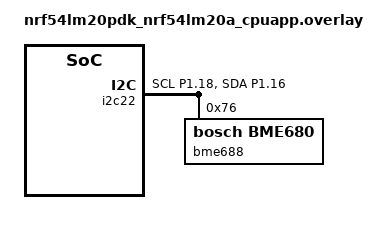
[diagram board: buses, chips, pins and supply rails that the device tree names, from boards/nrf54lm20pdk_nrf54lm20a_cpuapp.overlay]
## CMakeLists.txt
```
#
# Copyright (c) 2018 Bosch Sensortec GmbH
#
# SPDX-License-Identifier: LicenseRef-Nordic-5-Clause
#

cmake_minimum_required(VERSION 3.20.0)
find_package(Zephyr REQUIRED HINTS $ENV{ZEPHYR_BASE})
project(bme680)

FILE(GLOB app_sources src/*.c)
target_sources(app PRIVATE ${app_sources})
```

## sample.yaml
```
sample:
  name: BME680 Sensor sample
common:
  depends_on: i2c
  tags:
    - drivers
    - i2c
    - sensors
    - ci_samples_zephyr_sensor_bme680
  harness: console

tests:
  nrf.extended.sample.sensor.bme680.nrf54h:
    filter: not CONFIG_COVERAGE
    harness_config:
      fixture: pca63566
      type: one_line
      regex:
        - "^\\s*T:\\s*-?[0-9\\.]*; P:\\s*-?[0-9\\.]*; H: \\s*-?[0-9\\.]*; G:\\s*-?[0-9\\\
        .]*$"
    extra_args:
      - SHIELD=pca63566
    platform_allow: nrf54h20dk/nrf54h20/cpuapp

  nrf.extended.sample.sensor.bme680.nrf54h_cpuppr:
    filter: not CONFIG_COVERAGE
    sysbuild: true
    harness_config:
      fixture: pca63566
      type: one_line
      regex:
        - "^\\s*T:\\s*-?[0-9\\.]*; P:\\s*-?[0-9\\.]*; H: \\s*-?[0-9\\.]*; G:\\s*-?[0-9\\\
        .]*$"
    extra_args:
      - bme680_SHIELD=pca63566
      - vpr_launcher_SHIELD=pca63566_fwd
    platform_allow: nrf54h20dk/nrf54h20/cpuppr

  nrf.extended.sample.sensor.bme680.nrf54h_coverage:
    filter: CONFIG_COVERAGE
    harness_config:
      fixture: pca63566
      type: one_line
      regex:
        - "^\\s*T:\\s*-?[0-9\\.]*; P:\\s*-?[0-9\\.]*; H: \\s*-?[0-9\\.]*; G:\\s*-?[0-9\\\
        .]*$"
    extra_args:
      - SHIELD=pca63566;coverage_support
    platform_allow: nrf54h20dk/nrf54h20/cpuapp

  nrf.extended.sample.sensor.bme680.nrf54l:
    filter: not CONFIG_COVERAGE
    harness_config:
      fixture: pca63565
      type: one_line
      regex:
        - "^\\s*T:\\s*-?[0-9\\.]*; P:\\s*-?[0-9\\.]*; H: \\s*-?[0-9\\.]*; G:\\s*-?[0-9\\\
        .]*$"
    extra_args:
      - SHIELD=pca63565
    platform_allow: nrf54l15dk/nrf54l15/cpuapp

  nrf.extended.sample.sensor.bme680.nrf54l_coverage:
    filter: CONFIG_COVERAGE
    harness_config:
      fixture: pca63565
      type: one_line
      regex:
        - "^\\s*T:\\s*-?[0-9\\.]*; P:\\s*-?[0-9\\.]*; H: \\s*-?[0-9\\.]*; G:\\s*-?[0-9\\\
        .]*$"
    extra_args:
      - SHIELD=pca63565;coverage_support
    platform_allow: nrf54l15dk/nrf54l15/cpuapp

  nrf.extended.sample.sensor.bme680.nrf54l_cpuflpr:
    filter: not CONFIG_COVERAGE
    sysbuild: true
    harness_config:
      fixture: pca63565
      type: one_line
      regex:
        - "^\\s*T:\\s*-?[0-9\\.]*; P:\\s*-?[0-9\\.]*; H: \\s*-?[0-9\\.]*; G:\\s*-?[0-9\\\
        .]*$"
    extra_args:
      - SHIELD=pca63565
      - vpr_launcher_DTC_OVERLAY_FILE="${ZEPHYR_NRF_MODULE_DIR}/boards/shields/pca63565/boards/nrf54l15dk_nrf54l15_vpr_launcher.overlay"
    platform_allow: nrf54l15dk/nrf54l15/cpuflpr

  nrf.extended.sample.sensor.bme680.nrf54lm20:
    harness_config:
      fixture: pca63565
      type: one_line
      regex:
        - "^\\s*T:\\s*-?[0-9\\.]*; P:\\s*-?[0-9\\.]*; H: \\s*-?[0-9\\.]*; G:\\s*-?[0-9\\\
        .]*$"
    platform_allow:
      - nrf54lm20pdk/nrf54lm20a/cpuapp
      - nrf54lm20pdk@0.2.0/nrf54lm20a/cpuapp
```

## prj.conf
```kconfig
CONFIG_STDOUT_CONSOLE=y
CONFIG_I2C=y
CONFIG_SENSOR=y
```

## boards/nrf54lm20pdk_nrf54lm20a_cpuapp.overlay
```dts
/ {
	aliases {
		sensor-bme688 = &i2c22;
	};
};

&pinctrl {
	i2c22_default: i2c22_default {
		group1  {
			psels = <NRF_PSEL(TWIM_SCL, 1, 18)>,
					<NRF_PSEL(TWIM_SDA, 1, 16)>;
		};
	};

	i2c22_sleep: i2c22_sleep {
		group1  {
			psels = <NRF_PSEL(TWIM_SCL, 1, 18)>,
					<NRF_PSEL(TWIM_SDA, 1, 16)>;
			low-power-enable;
		};
	};
};

&i2c22 {
	status = "okay";
	zephyr,concat-buf-size = <512>;
	pinctrl-0 = <&i2c22_default>;
	pinctrl-1 = <&i2c22_sleep>;
	pinctrl-names = "default", "sleep";

	bme688: bme688@76 {
		compatible = "bosch,bme680";
		status = "okay";
		reg = <0x76>;
	};
};
```

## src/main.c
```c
/*
 * Copyright (c) 2018 Bosch Sensortec GmbH
 *
 * SPDX-License-Identifier: LicenseRef-Nordic-5-Clause
 */

#include <zephyr/kernel.h>
#include <zephyr/device.h>
#include <zephyr/drivers/sensor.h>
#include <stdio.h>

int main(void)
{
	const struct device *const dev = DEVICE_DT_GET_ONE(bosch_bme680);
	struct sensor_value temp, press, humidity, gas_res;

	if (!device_is_ready(dev)) {
		printk("sensor: device not ready.\n");
		return 0;
	}

	printf("Device %p name is %s\n", dev, dev->name);

#ifndef CONFIG_COVERAGE
	while (1) {
#else
	for (int i = 0; i < 5; i++) {
#endif
		k_sleep(K_MSEC(3000));

		sensor_sample_fetch(dev);
		sensor_channel_get(dev, SENSOR_CHAN_AMBIENT_TEMP, &temp);
		sensor_channel_get(dev, SENSOR_CHAN_PRESS, &press);
		sensor_channel_get(dev, SENSOR_CHAN_HUMIDITY, &humidity);
		sensor_channel_get(dev, SENSOR_CHAN_GAS_RES, &gas_res);

		printf("T: %d.%06d; P: %d.%06d; H: %d.%06d; G: %d.%06d\n",
				temp.val1, temp.val2, press.val1, press.val2,
				humidity.val1, humidity.val2, gas_res.val1,
				gas_res.val2);
	}
	return 0;
}
```
